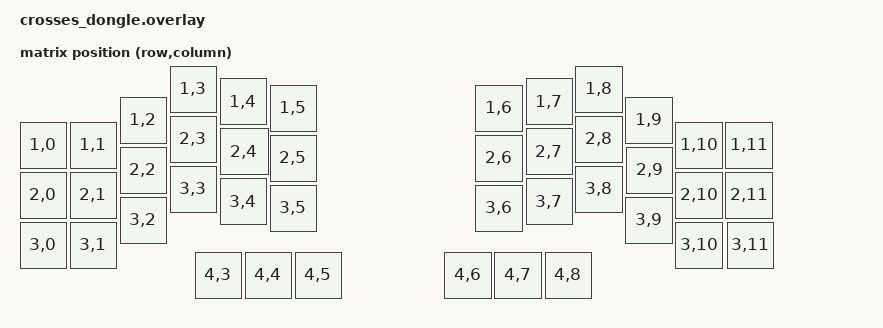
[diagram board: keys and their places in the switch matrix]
 #include <dt-bindings/zmk/matrix_transform.h>
 #include <physical_layouts.dtsi>

 / {
    chosen {
        zmk,kscan = &mock_kscan;
        zmk,physical-layout = &gggw_crosses_42_layout;
    };

    mock_kscan: kscan_1 {
        compatible = "zmk,kscan-mock";
        columns = <0>;
        rows = <0>;
        events = <0>;
    };

    split_inputs {
        #address-cells = <1>;
        #size-cells = <0>;

        trackball_peripheral_split: trackball_peripheral_split@0 {
            compatible = "zmk,input-split";
            reg = <0>;
        };
    };

    crosses_dongle_transform: keymap_transform_dongle {
        compatible = "zmk,matrix-transform";
        columns = <12>;
        rows = <5>;
        map = <
            RC(1,0) RC(1,1) RC(1,2) RC(1,3) RC(1,4) RC(1,5) RC(1,6) RC(1,7) RC(1,8) RC(1,9) RC(1,10) RC(1,11)
            RC(2,0) RC(2,1) RC(2,2) RC(2,3) RC(2,4) RC(2,5) RC(2,6) RC(2,7) RC(2,8) RC(2,9) RC(2,10) RC(2,11)
            RC(3,0) RC(3,1) RC(3,2) RC(3,3) RC(3,4) RC(3,5) RC(3,6) RC(3,7) RC(3,8) RC(3,9) RC(3,10) RC(3,11)
                          RC(4,3) RC(4,4) RC(4,5) RC(4,6) RC(4,7) RC(4,8)
        >;
    };

    gggw_crosses_42_layout: gggw_crosses_42_layout {
        compatible = "zmk,physical-layout";
        display-name = "42 Key";
        transform = <&crosses_dongle_transform>;
        keys = <&key_physical_attrs 100 100 0 112 0 0 0>, <&key_physical_attrs 100 100 100 112 0 0 0>, <&key_physical_attrs 100 100 200 62 0 0 0>, <&key_physical_attrs 100 100 300 0 0 0 0>, <&key_physical_attrs 100 100 400 25 0 0 0>, <&key_physical_attrs 100 100 500 38 0 0 0>,
               <&key_physical_attrs 100 100 912 38 0 0 0>, <&key_physical_attrs 100 100 1012 25 0 0 0>, <&key_physical_attrs 100 100 1112 0 0 0 0>, <&key_physical_attrs 100 100 1212 62 0 0 0>, <&key_physical_attrs 100 100 1312 112 0 0 0>, <&key_physical_attrs 100 100 1412 112 0 0 0>,
               <&key_physical_attrs 100 100 0 212 0 0 0>, <&key_physical_attrs 100 100 100 212 0 0 0>, <&key_physical_attrs 100 100 200 162 0 0 0>, <&key_physical_attrs 100 100 300 100 0 0 0>, <&key_physical_attrs 104 100 400 125 0 0 0>, <&key_physical_attrs 100 100 500 138 0 0 0>,
               <&key_physical_attrs 100 100 912 138 0 0 0>, <&key_physical_attrs 100 100 1012 125 0 0 0>, <&key_physical_attrs 100 100 1112 100 0 0 0>, <&key_physical_attrs 100 100 1213 162 0 0 0>, <&key_physical_attrs 100 100 1312 212 0 0 0>, <&key_physical_attrs 100 100 1412 212 0 0 0>,
               <&key_physical_attrs 100 100 0 312 0 0 0>, <&key_physical_attrs 100 100 100 312 0 0 0>, <&key_physical_attrs 100 100 200 262 0 0 0>, <&key_physical_attrs 100 100 300 200 0 0 0>, <&key_physical_attrs 100 100 400 225 0 0 0>, <&key_physical_attrs 100 100 500 238 0 0 0>,
               <&key_physical_attrs 100 100 912 238 0 0 0>, <&key_physical_attrs 100 100 1012 225 0 0 0>, <&key_physical_attrs 100 100 1112 200 0 0 0>, <&key_physical_attrs 100 100 1212 262 0 0 0>, <&key_physical_attrs 100 100 1312 312 0 0 0>, <&key_physical_attrs 100 100 1415 312 0 0 0>,
               <&key_physical_attrs 100 100 350 372 0 0 0>, <&key_physical_attrs 100 100 450 372 0 0 0>, <&key_physical_attrs 100 100 550 372 0 0 0>, <&key_physical_attrs 100 100 850 372 0 0 0>, <&key_physical_attrs 100 100 950 372 0 0 0>, <&key_physical_attrs 100 100 1050 372 0 0 0>;
    };
};
